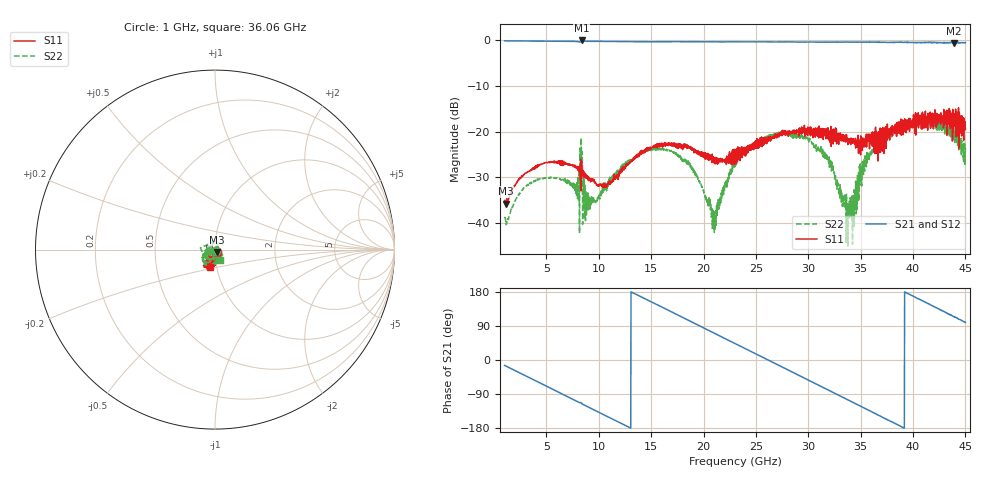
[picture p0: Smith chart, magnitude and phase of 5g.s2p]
!Keysight Technologies,N5247B,MY61255062,A.19.80.06
!Date: Tuesday, May 26, 2026 11:35:02
!Correction: S11(C  2-Port  )
!S21(C  2-Port  )
!S12(C  2-Port  )
!S22(C  2-Port  )
!S2P File: Measurements: S11, S21, S12, S22:
# Hz S  dB  R 50
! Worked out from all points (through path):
!   1601 points, 1 GHz to 45 GHz, reference 50 ohm
!   highest |S21| = -0.05 dB at 8.342 GHz (marker M1); lowest = -0.6 dB at 43.87 GHz (marker M2)
!   group delay of S21, straight-line fit = 38.3 ps
!   lowest |S11| = -35.8 dB at 1.11 GHz (marker M3), VSWR 1.03, Z = 51 - j1.29 ohm
!   |S11| at or under -10 dB: start of sweep to end of sweep
!   |S22| runs from -45.1 to -16.8 dB; largest |S21 - S12| = 0.018
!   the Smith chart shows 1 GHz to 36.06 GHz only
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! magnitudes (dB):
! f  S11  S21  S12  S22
! 1 GHz  -35.1  -0.1  -0.1  -38.9
! 1.11 GHz  -35.8  -0.1  -0.1  -39.8
! 2.76 GHz  -29.6  -0.2  -0.2  -32.6
! 4.438 GHz  -27.2  -0.2  -0.2  -30.5
! 7.93 GHz  -28.2  -0.3  -0.3  -30.8
! 8.342 GHz  -26.6  -0.1  0.0  -25.7
! 8.755 GHz  -29.3  -0.2  -0.2  -33.2
! 9.717 GHz  -31.3  -0.3  -0.2  -35.5
! 12.77 GHz  -27.1  -0.3  -0.3  -26.7
! 15.69 GHz  -23.0  -0.3  -0.3  -23.9
! 18.66 GHz  -23.4  -0.3  -0.3  -27.5
! 20.96 GHz  -26.8  -0.3  -0.3  -37.7
! 23 GHz  -23.9  -0.4  -0.4  -26.5
! 27.21 GHz  -21.2  -0.4  -0.4  -20.5
! 30.34 GHz  -19.7  -0.4  -0.4  -22.7
! 32.13 GHz  -21.0  -0.4  -0.4  -27.6
! 33.84 GHz  -21.6  -0.4  -0.4  -35.8
! 35.54 GHz  -20.6  -0.4  -0.4  -27.7
! 37.69 GHz  -21.3  -0.5  -0.4  -21.1
! 41.07 GHz  -17.5  -0.5  -0.5  -17.5
! 43.87 GHz  -16.3  -0.6  -0.5  -20.5
! 45 GHz  -19.6  -0.5  -0.6  -23.7
